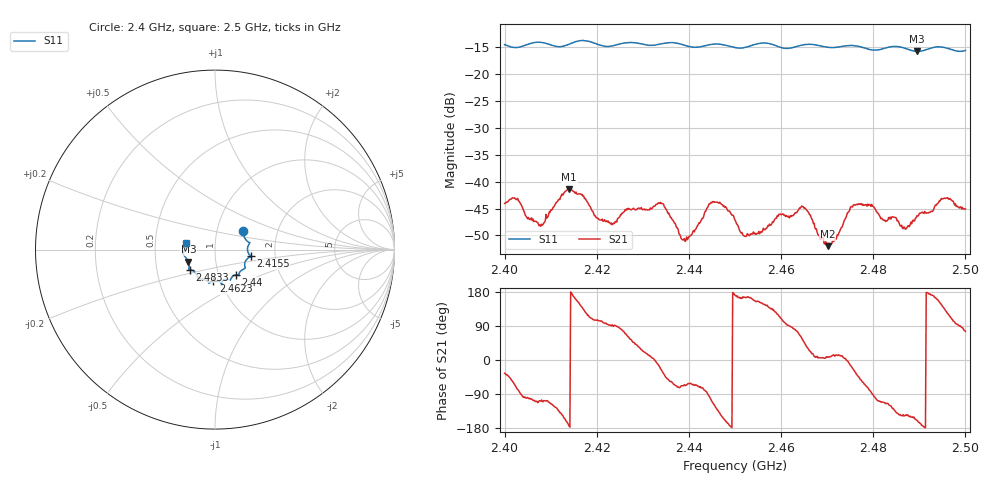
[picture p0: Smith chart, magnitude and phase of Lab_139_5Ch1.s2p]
# Hz S RI R 50
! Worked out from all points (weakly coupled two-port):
!   601 points, 2.4 GHz to 2.5 GHz, reference 50 ohm
!   highest |S21| = -41.42 dB at 2.414 GHz (marker M1); lowest = -52.0 dB at 2.4702 GHz (marker M2)
!   lowest |S11| = -15.7 dB at 2.4895 GHz (marker M3), VSWR 1.39, Z = 36.8 - j5.1 ohm
!   |S11| at or under -10 dB: start of sweep to end of sweep
!   S12 and S22 are empty: the file has one direction only
!   S11 on the Smith chart (normalised r, x): 2.4 GHz: 1.33, +0.29; 2.4155 GHz: 1.49, -0.11; 2.44 GHz: 1.21, -0.35; 2.4623 GHz: 0.92, -0.34; 2.4833 GHz: 0.74, -0.17; 2.5 GHz: 0.72, +0.05
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2.4e9  0.1565 0.1059  0.00513 -0.00359  0 0  0 0
2.402667e9  0.1649 0.0656  0.00167 -0.0066  0 0  0 0
2.407833e9  0.1946 0.0377  -0.00121 -0.00365  0 0  0 0
2.414e9  0.189 -0.025  -0.00845 -0.000853  0 0  0 0
2.4155e9  0.1985 -0.0364  -0.0075 0.00277  0 0  0 0
2.416667e9  0.2022 -0.0405  -0.00584 0.00477  0 0  0 0
2.423333e9  0.1656 -0.0798  -0.000216 0.00397  0 0  0 0
2.433333e9  0.1343 -0.1338  0.0062 -0.00132  0 0  0 0
2.44e9  0.1157 -0.1398  0.00144 -0.00271  0 0  0 0
2.444833e9  0.0858 -0.1692  -0.00175 -0.00618  0 0  0 0
2.45e9  0.0636 -0.1655  -0.00433 0.000698  0 0  0 0
2.452667e9  0.041 -0.1752  -0.00319 0.000764  0 0  0 0
2.462333e9  -0.00863 -0.1761  0.000263 0.00484  0 0  0 0
2.464833e9  -0.0298 -0.1857  0.00375 0.00446  0 0  0 0
2.466667e9  -0.0337 -0.1869  0.0043 0.0013  0 0  0 0
2.470167e9  -0.0499 -0.1713  0.00248 0.000363  0 0  0 0
2.476167e9  -0.0939 -0.1584  0.00506 -0.00332  0 0  0 0
2.483333e9  -0.14 -0.1112  -0.00211 -0.00413  0 0  0 0
2.486833e9  -0.1446 -0.0984  -0.00307 -0.00205  0 0  0 0
2.4895e9  -0.1486 -0.0675  -0.00453 -0.00169  0 0  0 0
2.495667e9  -0.1758 -0.0172  -0.0046 0.00523  0 0  0 0
2.5e9  -0.1627 0.0372  0.00138 0.0054  0 0  0 0
